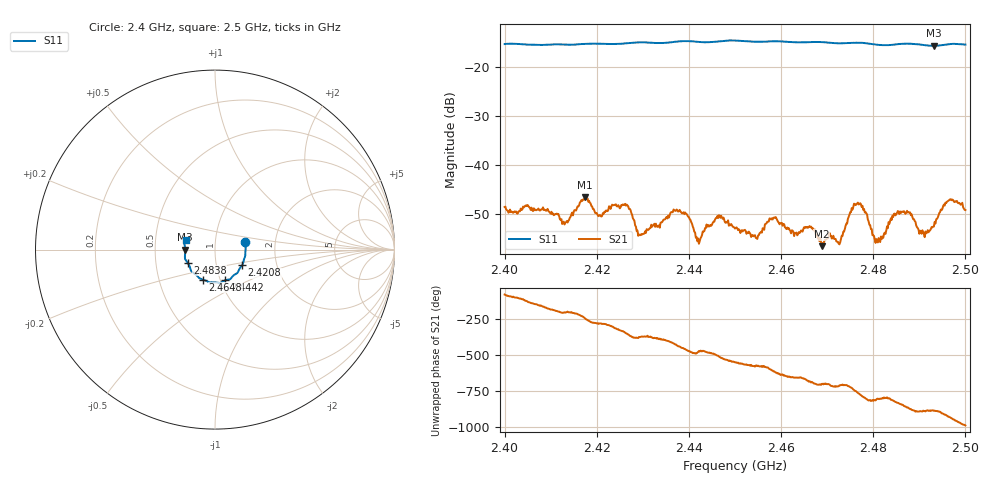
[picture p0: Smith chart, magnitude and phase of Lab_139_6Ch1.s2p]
# Hz S RI R 50
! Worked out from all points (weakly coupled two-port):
!   601 points, 2.4 GHz to 2.5 GHz, reference 50 ohm
!   highest |S21| = -46.56 dB at 2.4175 GHz (marker M1); lowest = -56.5 dB at 2.4688 GHz (marker M2)
!   lowest |S11| = -15.6 dB at 2.4932 GHz (marker M3), VSWR 1.40, Z = 35.8 - j0.0776 ohm
!   |S11| at or under -10 dB: start of sweep to end of sweep
!   S12 and S22 are empty: the file has one direction only
!   S11 on the Smith chart (normalised r, x): 2.4 GHz: 1.40, +0.12; 2.4208 GHz: 1.33, -0.24; 2.4442 GHz: 1.05, -0.37; 2.4648 GHz: 0.83, -0.29; 2.4838 GHz: 0.73, -0.11; 2.5 GHz: 0.72, +0.08
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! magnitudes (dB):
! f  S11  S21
! 2.4 GHz  -15.2  -48.5
! 2.413 GHz  -15.3  -52.1
! 2.4167 GHz  -15.2  -47.1
! 2.4175 GHz  -15.2  -46.6
! 2.4208 GHz  -15.2  -50.4
! 2.4262 GHz  -15.1  -47.9
! 2.4333 GHz  -15.0  -52.5
! 2.4372 GHz  -14.8  -49.3
! 2.442 GHz  -14.8  -55.0
! 2.4442 GHz  -14.9  -52.2
! 2.45 GHz  -14.5  -52.9
! 2.4648 GHz  -14.9  -53.0
! 2.4667 GHz  -14.8  -52.9
! 2.4688 GHz  -14.8  -56.5
! 2.4728 GHz  -15.1  -55.7
! 2.4763 GHz  -15.0  -48.0
! 2.4805 GHz  -15.3  -55.9
! 2.4833 GHz  -15.5  -51.6
! 2.4838 GHz  -15.4  -50.8
! 2.4932 GHz  -15.6  -52.5
! 2.4965 GHz  -15.3  -47.1
! 2.5 GHz  -15.4  -49.1
